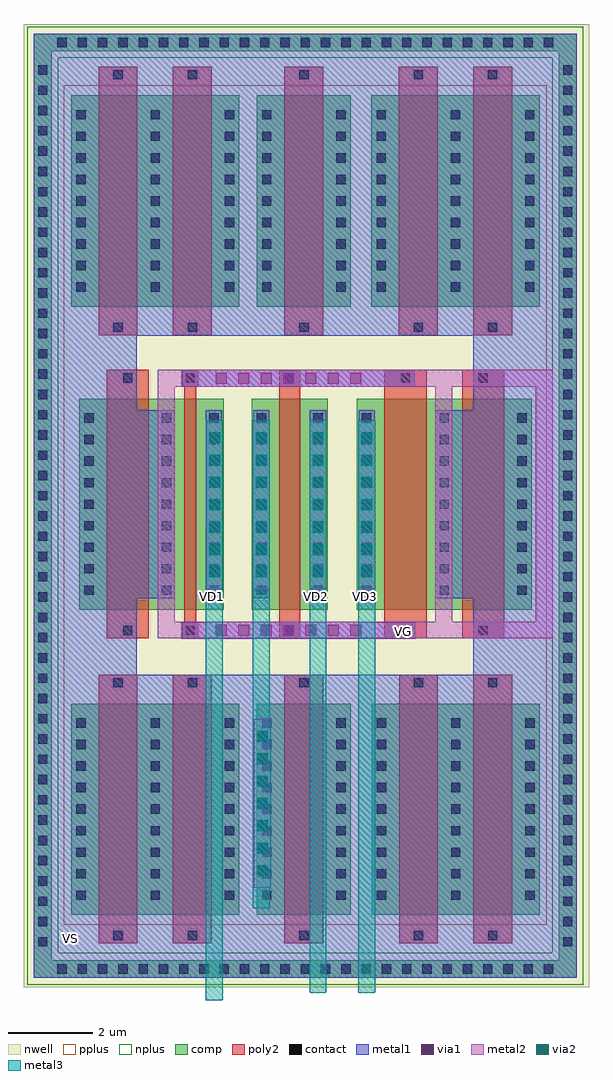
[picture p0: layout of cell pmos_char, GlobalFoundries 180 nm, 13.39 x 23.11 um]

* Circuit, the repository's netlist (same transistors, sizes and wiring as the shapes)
** sch_path: /home/gmaranhao/Desktop/Bracolin/Current_Source/pmos_char.sch
.subckt pmos_char VD1 VD2 VD3 VG VS
*.PININFO VD1:B VD2:B VD3:B VG:B VS:B
M1 VD1 VG VS VS pfet_03v3 L=0.28u W=5u nf=1 m=1
M2 VD2 VG VS VS pfet_03v3 L=0.5u W=5u nf=1 m=1
M3 VD3 VG VS VS pfet_03v3 L=1u W=5u nf=1 m=1
M4[1] VS VS VS VS pfet_03v3 L=0.92u W=5u nf=1 m=1
M4[2] VS VS VS VS pfet_03v3 L=0.92u W=5u nf=1 m=1
M4[3] VS VS VS VS pfet_03v3 L=0.92u W=5u nf=1 m=1
M4[4] VS VS VS VS pfet_03v3 L=0.92u W=5u nf=1 m=1
M4[5] VS VS VS VS pfet_03v3 L=0.92u W=5u nf=1 m=1
M4[6] VS VS VS VS pfet_03v3 L=0.92u W=5u nf=1 m=1
M4[7] VS VS VS VS pfet_03v3 L=0.92u W=5u nf=1 m=1
M4[8] VS VS VS VS pfet_03v3 L=0.92u W=5u nf=1 m=1
M4[9] VS VS VS VS pfet_03v3 L=0.92u W=5u nf=1 m=1
M4[10] VS VS VS VS pfet_03v3 L=0.92u W=5u nf=1 m=1
M5[1] VS VS VS VS pfet_03v3 L=1u W=5u nf=1 m=1
M5[2] VS VS VS VS pfet_03v3 L=1u W=5u nf=1 m=1
.ends
.end

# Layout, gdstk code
from math import pi, radians
import gdstk
lib = gdstk.Library(unit=1e-6, precision=1e-09)
def R(c, l, rs):  # rectangles x0, y0, x1, y1
    for r in rs: c.add(gdstk.rectangle(r[:2], r[2:], *l))
def A(c, l, x, y, w, h, nx, ny, dx, dy):  # array of equal rectangles
    R(c, l, [(x+i*dx, y+j*dy, x+i*dx+w, y+j*dy+h) for i in range(nx) for j in range(ny)])
nwell = (21, 0)
comp = (22, 0)
poly2 = (30, 0)
pplus = (31, 0)
nplus = (32, 0)
contact = (33, 0)
metal1 = (34, 0)
via1 = (35, 0)
metal2 = (36, 0)
via2 = (38, 0)
metal3 = (42, 0)

pfet_1 = lib.new_cell('pfet$1')
R(pfet_1, nwell, [(-0.9,-0.44,1.78,5.44)])
R(pfet_1, comp, [(-0.46,0,0,5), (0,0,0.88,5), (0.88,0,1.34,5)])
R(pfet_1, poly2, [(0.19,-0.68,0.69,-0.3), (0.19,-0.3,0.69,5.3), (0.19,5.3,0.69,5.68)])
R(pfet_1, pplus, [(-0.63,-0.24,1.51,5.24)])
A(pfet_1, contact, -0.34, 0.35, 0.22, 0.22, 1, 9, 0, 0.51)
A(pfet_1, contact, 1, 0.35, 0.22, 0.22, 1, 9, 0, 0.51)
R(pfet_1, contact, [(0.33,-0.6,0.55,-0.38), (0.33,5.38,0.55,5.6)])
R(pfet_1, metal1, [(0.25,-0.681,0.63,-0.299), (-0.42,0.27,-0.04,4.73), (0.92,0.27,1.3,4.73), (0.25,5.299,0.63,5.681)])

pfet = lib.new_cell('pfet')
R(pfet, nwell, [(-0.9,-0.44,2.28,5.44)])
R(pfet, comp, [(-0.46,0,0,5), (0,0,1.38,5), (1.38,0,1.84,5)])
R(pfet, poly2, [(0.19,-0.68,1.19,-0.3), (0.19,-0.3,1.19,5.3), (0.19,5.3,1.19,5.68)])
R(pfet, pplus, [(-0.63,-0.24,2.01,5.24)])
A(pfet, contact, -0.34, 0.35, 0.22, 0.22, 1, 9, 0, 0.51)
A(pfet, contact, 1.5, 0.35, 0.22, 0.22, 1, 9, 0, 0.51)
R(pfet, contact, [(0.58,-0.6,0.8,-0.38), (0.58,5.38,0.8,5.6)])
R(pfet, metal1, [(0.5,-0.681,0.88,-0.299), (-0.42,0.27,-0.04,4.73), (1.42,0.27,1.8,4.73), (0.5,5.299,0.88,5.681)])

pfet_3 = lib.new_cell('pfet$3')
R(pfet_3, nwell, [(-0.9,-0.44,2.2,5.44)])
R(pfet_3, comp, [(-0.46,0,0,5), (0,0,1.3,5), (1.3,0,1.76,5)])
R(pfet_3, poly2, [(0.19,-0.68,1.11,-0.3), (0.19,-0.3,1.11,5.3), (0.19,5.3,1.11,5.68)])
R(pfet_3, pplus, [(-0.63,-0.24,1.93,5.24)])
A(pfet_3, contact, -0.34, 0.35, 0.22, 0.22, 1, 9, 0, 0.51)
A(pfet_3, contact, 1.42, 0.35, 0.22, 0.22, 1, 9, 0, 0.51)
R(pfet_3, contact, [(0.54,-0.6,0.76,-0.38), (0.54,5.38,0.76,5.6)])
R(pfet_3, metal1, [(0.46,-0.681,0.84,-0.299), (-0.42,0.27,-0.04,4.73), (1.34,0.27,1.72,4.73), (0.46,5.299,0.84,5.681)])

via_dev = lib.new_cell('via_dev')
R(via_dev, metal1, [(0,0,0.4,4)])
A(via_dev, via1, 0.07, 0.28, 0.26, 0.26, 1, 7, 0, 0.53)
R(via_dev, metal2, [(0,0,0.4,4)])
A(via_dev, via2, 0.07, 0.28, 0.26, 0.26, 1, 7, 0, 0.53)
R(via_dev, metal3, [(0,0,0.4,4)])

via_dev_1 = lib.new_cell('via_dev$1')
R(via_dev_1, metal1, [(0,0,4,0.4)])
A(via_dev_1, via1, 0.28, 0.07, 0.26, 0.26, 7, 1, 0.53, 0)
R(via_dev_1, metal2, [(0,0,4,0.4)])

via_dev_2 = lib.new_cell('via_dev$2')
R(via_dev_2, comp, [(0,0,0.42,12.02)])
A(via_dev_2, contact, 0.1, 0.14, 0.22, 0.22, 1, 25, 0, 0.48)
R(via_dev_2, metal1, [(0,0,0.42,12.02)])

via_dev_3 = lib.new_cell('via_dev$3')
R(via_dev_3, comp, [(0,0,21.52,0.42)])
A(via_dev_3, contact, 0.33, 0.1, 0.22, 0.22, 44, 1, 0.48, 0)
R(via_dev_3, metal1, [(0,0,21.52,0.42)])

pfet_2 = lib.new_cell('pfet$2')
R(pfet_2, nwell, [(-0.9,-0.44,1.56,5.44)])
R(pfet_2, comp, [(-0.46,0,0,5), (0,0,0.66,5), (0.66,0,1.12,5)])
R(pfet_2, poly2, [(0.14,-0.68,0.52,-0.3), (0.19,-0.3,0.47,5.3), (0.14,5.3,0.52,5.68)])
R(pfet_2, pplus, [(-0.63,-0.24,1.29,5.24)])
A(pfet_2, contact, -0.34, 0.35, 0.22, 0.22, 1, 9, 0, 0.51)
A(pfet_2, contact, 0.78, 0.35, 0.22, 0.22, 1, 9, 0, 0.51)
R(pfet_2, contact, [(0.22,-0.6,0.44,-0.38), (0.22,5.38,0.44,5.6)])
R(pfet_2, metal1, [(0.14,-0.681,0.52,-0.299), (-0.42,0.27,-0.04,4.73), (0.7,0.27,1.08,4.73), (0.14,5.299,0.52,5.681)])

pmos_char = lib.new_cell('pmos_char')
R(pmos_char, nwell, [(-0.03,-1.945,13.365,20.86), (0.695,-0.67,12.595,19.61)])
R(pmos_char, comp, [(0.21,-1.725,0.63,-1.305), (12.645,-1.725,13.065,-1.305), (0.21,20.21,0.63,20.63), (12.645,20.21,13.065,20.63)])
R(pmos_char, pplus, [(0.925,-0.47,12.36,19.41)])
R(pmos_char, metal1, [(0.21,-1.725,0.63,-1.305), (12.645,-1.725,13.065,-1.305), (0.21,-1.45,13.065,5.455), (0.21,5.17,2.65,13.505), (10.62,5.17,13.065,13.505), (3.705,6.305,9.24,6.695), (1.37,7.26,3.55,11.72), (9.72,7.26,11.9,11.72), (3.705,12.27,9.225,12.675), (0.21,13.48,13.065,20.63), (0.21,20.21,0.63,20.63), (12.645,20.21,13.065,20.63)])
pmos_char.add(gdstk.FlexPath([(0.42,20.795),(0.42,-1.885)], 0.74, ends="flush", simple_path=True, layer=32, datatype=0))  # nplus
pmos_char.add(gdstk.FlexPath([(0.435,20.425),(13.005,20.425)], 0.74, ends="flush", simple_path=True, layer=32, datatype=0))  # nplus
pmos_char.add(gdstk.FlexPath([(12.855,20.795),(12.855,-1.885)], 0.74, ends="flush", simple_path=True, layer=32, datatype=0))  # nplus
pmos_char.add(gdstk.FlexPath([(0.435,-1.51),(13.005,-1.51)], 0.75, ends="flush", simple_path=True, layer=32, datatype=0))  # nplus
pmos_char.add(gdstk.FlexPath([(4.485,8.94),(4.485,-2.25)], 0.4, ends="flush", simple_path=True, layer=42, datatype=0))  # metal3
pmos_char.add(gdstk.FlexPath([(5.6,9.475),(5.6,-0.08)], 0.4, ends="flush", simple_path=True, layer=42, datatype=0))  # metal3
pmos_char.add(gdstk.FlexPath([(6.94,9.475),(6.94,-2.075)], 0.4, ends="flush", simple_path=True, layer=42, datatype=0))  # metal3
pmos_char.add(gdstk.FlexPath([(8.09,9.475),(8.09,-2.075)], 0.4, ends="flush", simple_path=True, layer=42, datatype=0))  # metal3
pmos_char.add(gdstk.FlexPath([(7.83,6.51),(9.92,6.51),(9.92,12.47),(8.19,12.47)], 0.4, ends="flush", simple_path=True, layer=36, datatype=0))  # metal2
pmos_char.add(gdstk.FlexPath([(4.26,6.51),(3.35,6.51),(3.35,12.47),(4.25,12.47)], 0.4, ends="flush", simple_path=True, layer=36, datatype=0))  # metal2
pmos_char.add(gdstk.FlexPath([(9.795,12.47),(12.3,12.47),(12.3,6.51),(9.865,6.51)], 0.4, ends="flush", simple_path=True, layer=36, datatype=0))  # metal2
pmos_char.add(gdstk.Reference(pfet_1, (5.83,6.99)))
pmos_char.add(gdstk.Reference(pfet, (8.32,6.99)))
pmos_char.add(gdstk.Reference(pfet, (10.16,6.99)))
pmos_char.add(gdstk.Reference(pfet_3, (10.425,14.17)))
pmos_char.add(gdstk.Reference(pfet_3, (3.315,14.17)))
pmos_char.add(gdstk.Reference(pfet_3, (5.955,14.17)))
pmos_char.add(gdstk.Reference(pfet, (1.745,6.99)))
pmos_char.add(gdstk.Reference(pfet_3, (8.67,-0.23)))
pmos_char.add(gdstk.Reference(pfet_3, (10.43,-0.23)))
pmos_char.add(gdstk.Reference(pfet_3, (3.315,-0.23)))
pmos_char.add(gdstk.Reference(pfet_3, (5.955,-0.23)))
pmos_char.add(gdstk.Reference(pfet_3, (1.555,-0.23)))
pmos_char.add(gdstk.Reference(via_dev, (4.29,7.475)))
pmos_char.add(gdstk.Reference(via_dev, (5.4,7.475)))
pmos_char.add(gdstk.Reference(via_dev, (6.74,7.475)))
pmos_char.add(gdstk.Reference(via_dev, (7.89,7.475)))
pmos_char.add(gdstk.Reference(via_dev, (5.42,0.405)))
pmos_char.add(gdstk.Reference(via_dev_1, (4.24,6.31)))
pmos_char.add(gdstk.Reference(via_dev_1, (4.24,12.27)))
pmos_char.add(gdstk.Reference(via_dev_2, (0.63,20.63), rotation=3*pi/2))
pmos_char.add(gdstk.Reference(via_dev_3, (12.645,20.21), rotation=3*pi/2))
pmos_char.add(gdstk.Reference(via_dev_2, (0.63,-1.305), rotation=3*pi/2))
pmos_char.add(gdstk.Reference(via_dev_3, (0.21,20.21), rotation=3*pi/2))
pmos_char.add(gdstk.Reference(via_dev, (5.4,7.475)))
pmos_char.add(gdstk.Reference(pfet_3, (8.665,14.17)))
pmos_char.add(gdstk.Reference(via_dev, (6.74,7.475)))
pmos_char.add(gdstk.Reference(pfet_3, (1.555,14.17)))
pmos_char.add(gdstk.Reference(via_dev, (7.89,7.475)))
pmos_char.add(gdstk.Reference(via_dev_2, (0.63,20.63), rotation=3*pi/2))
pmos_char.add(gdstk.Reference(via_dev_3, (12.645,20.21), rotation=3*pi/2))
pmos_char.add(gdstk.Reference(via_dev_2, (0.63,-1.305), rotation=3*pi/2))
pmos_char.add(gdstk.Reference(via_dev_3, (0.21,20.21), rotation=3*pi/2))
pmos_char.add(gdstk.Reference(via_dev, (4.29,7.475)))
pmos_char.add(gdstk.Reference(pfet_2, (3.585,6.99)))
pmos_char.add(gdstk.Label('VS', (1.08,-0.795), layer=34, texttype=10))
pmos_char.add(gdstk.Label('VD1', (4.43,7.315), layer=34, texttype=10))
pmos_char.add(gdstk.Label('VD2', (6.91,7.315), layer=34, texttype=10))
pmos_char.add(gdstk.Label('VD3', (8.055,7.315), layer=34, texttype=10))
pmos_char.add(gdstk.Label('VG', (8.97,6.465), layer=34, texttype=10))

lib.write_gds('pmos_char.gds')
